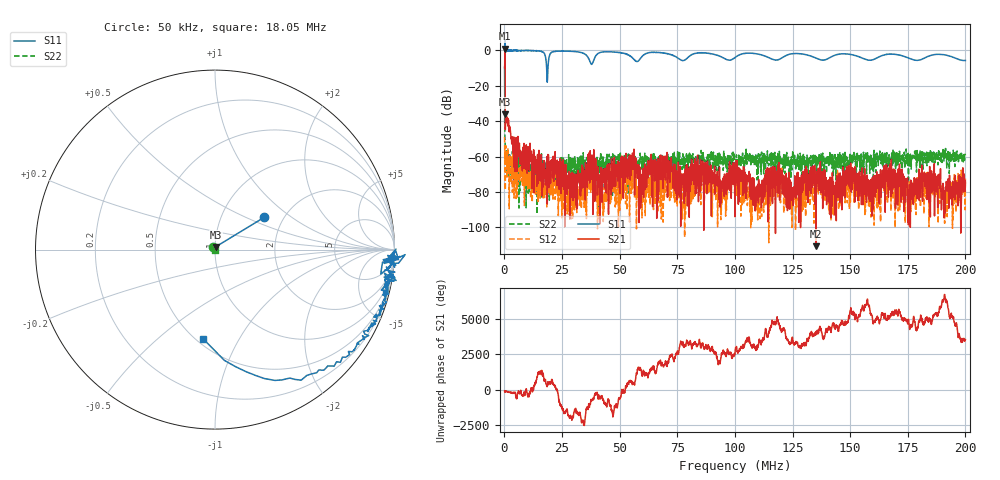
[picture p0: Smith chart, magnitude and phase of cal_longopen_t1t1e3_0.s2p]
! 26-Feb-26 1:33:52 PM
! E:\VNA_MEASUREMENTS\CAL_S11\CAL_LONGOPEN_T1T1E3_0.S2P
! CHANNEL.1
! TR.MEASUREMENT
! CORRECTED.DATA
# GHZ S RI R 50.0
! FREQ.GHZ  S11RE  S11IM  S21RE  S21IM  S12RE  S12IM  S22RE  S22IM
!; PortSelection: Port_12
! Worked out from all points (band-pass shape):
!   2000 points, 50 kHz to 200 MHz, reference 50 ohm
!   highest |S21| = 0.80 dB at 250 kHz (marker M1); lowest = -110.6 dB at 135.2 MHz (marker M2)
!   |S21| within 3 dB of the highest: 208.6 kHz to 256.6 kHz (48.07 kHz wide, 20.7 % of centre)
!   lowest |S11| = -36.3 dB at 150 kHz (marker M3), VSWR 1.03, Z = 50.3 + j1.52 ohm
!   |S11| at or under -10 dB: 51.03 kHz to 212.9 kHz (161.9 kHz wide, 123 % of centre); 18.29 MHz to 18.86 MHz (574.7 kHz wide, 3.09 % of centre)
!   |S22| runs from -92.4 to -33.8 dB; largest |S21 - S12| = 1.1
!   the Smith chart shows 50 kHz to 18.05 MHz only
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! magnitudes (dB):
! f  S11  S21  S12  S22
! 50 kHz  -9.7  -9.8  -48.9  -33.8
! 150 kHz  -36.3  -6.4  -64.1  -47.9
! 250 kHz  5.5  0.8  -56.6  -50.8
! 1.35 MHz  -0.1  -40.6  -62.5  -70.4
! 4.651 MHz  0.0  -68.6  -73.3  -64.1
! 18.55 MHz  -18.0  -86.8  -83.5  -75.6
! 33.46 MHz  -1.4  -73.8  -78.5  -63.5
! 37.16 MHz  -6.6  -56.7  -69.9  -60.9
! 41.36 MHz  -1.3  -73.9  -90.8  -61.0
! 55.16 MHz  -3.9  -65.0  -68.9  -75.8
! 59.36 MHz  -4.0  -74.4  -76.4  -64.2
! 66.77 MHz  -1.2  -64.1  -69.4  -64.2
! 85.37 MHz  -1.4  -69.1  -75.7  -56.5
! 94.37 MHz  -3.9  -78.2  -79.2  -60.8
! 100.1 MHz  -4.1  -66.2  -84.9  -63.5
! 109.5 MHz  -2.1  -81.7  -89.5  -62.9
! 133.4 MHz  -3.6  -77.6  -76.6  -61.9
! 135.2 MHz  -4.5  -110.6  -75.3  -63.6
! 159.1 MHz  -5.6  -72.9  -81.4  -58.8
! 166.7 MHz  -2.3  -66.4  -70.9  -63.5
! 176 MHz  -4.8  -76.2  -85.9  -65.4
! 200 MHz  -5.8  -73.8  -72.5  -59.3
